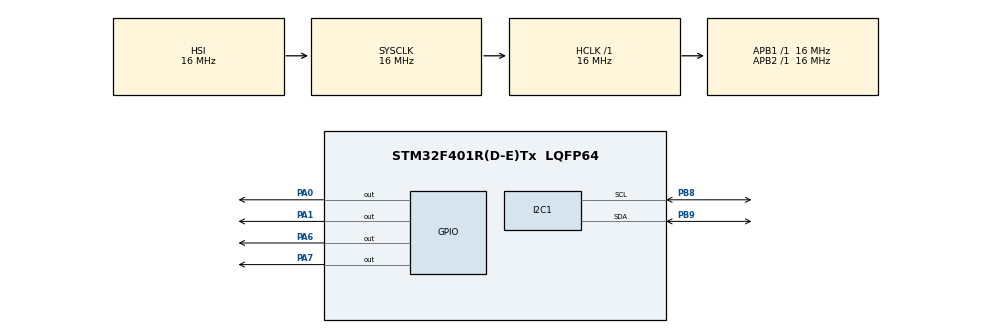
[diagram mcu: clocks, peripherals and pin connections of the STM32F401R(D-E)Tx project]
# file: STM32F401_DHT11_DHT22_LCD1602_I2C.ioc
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Mcu.Family=STM32F4
Mcu.Name=STM32F401R(D-E)Tx
Mcu.Package=LQFP64
NVIC.PriorityGroup=NVIC_PRIORITYGROUP_4
PA0-WKUP.PinState=GPIO_PIN_SET
PA0-WKUP.Signal=GPIO_Output
PA1.Signal=GPIO_Output
PA13.Mode=Serial_Wire
PA13.Signal=SYS_JTMS-SWDIO
PA14.Mode=Serial_Wire
PA14.Signal=SYS_JTCK-SWCLK
PA6.Signal=GPIO_Output
PA7.Signal=GPIO_Output
PB8.Mode=I2C
PB8.Signal=I2C1_SCL
PB9.Mode=I2C
PB9.Signal=I2C1_SDA
ProjectManager.HeapSize=0x200
ProjectManager.StackSize=0x400
ProjectManager.TargetToolchain=STM32CubeIDE
RCC.AHBFreq_Value=16000000
RCC.APB1Freq_Value=16000000
RCC.APB2Freq_Value=16000000
RCC.CortexFreq_Value=16000000
RCC.HSE_VALUE=25000000
RCC.HSI_VALUE=16000000
RCC.LSE_VALUE=32768
RCC.SYSCLKFreq_VALUE=16000000
RCC.VCOOutputFreq_Value=192000000
TIM2.Period=65535
TIM2.Prescaler=15
VP_TIM2_VS_ClockSourceINT.Mode=Internal
board=custom

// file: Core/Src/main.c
/* USER CODE BEGIN Header */
/**
  ******************************************************************************
  * @file           : main.c
  * @brief          : Main program body
  ******************************************************************************
  * @attention
  *
  * Copyright (c) 2025 STMicroelectronics.
  * All rights reserved.
  *
  * This software is licensed under terms that can be found in the LICENSE file
  * in the root directory of this software component.
  * If no LICENSE file comes with this software, it is provided AS-IS.
  *
  ******************************************************************************
  */
/* USER CODE END Header */
#include "main.h"

/* USER CODE BEGIN Includes */
#include <stdio.h>
#include <string.h>
#include "../../DelayMicro/Inc/delay_micro.h"
#include "../../Dht/Inc/Dht.h"
#include "../../Lcd1602_i2c/Inc/lcd1602_i2c.h"
#include "stm32f4xx_hal.h"
/* USER CODE END Includes */

/* USER CODE BEGIN PV */

static const uint8_t DHT_SENSORS_COUNT = 2;
static const uint8_t DHT11_SENSOR_IDX = 0;
static const uint8_t DHT22_SENSOR_IDX = 1;
static const uint32_t SENSORS_POLLING_PERIOD = 1000;

I2C_HandleTypeDef hi2c1;
TIM_HandleTypeDef htim2;

/* USER CODE END PV */

void SystemClock_Config(void);
static void MX_GPIO_Init(void);
static void MX_TIM2_Init(void);
static void MX_I2C1_Init(void);

/* USER CODE BEGIN 0 */
void ShowDHTData(char * sensor_type, uint8_t temp_sign, float temperature, float humidity)
{
	char temperature_str[20];
    char humidity_str[20];

    sprintf(temperature_str, "%s Tc = %s%2.1Lf", sensor_type, (temp_sign ? "-":"+"), (long double)temperature);
    sprintf(humidity_str, "%s Rh = %2.1Lf%%", sensor_type, (long double)humidity);

    Lcd1602ScreenClear();
    Lcd1602SetCursor(0, 0);
    Lcd1602WriteString(temperature_str);
    Lcd1602SetCursor(1, 0);
    Lcd1602WriteString(humidity_str);
}

void ShowMessage(char * message1, char * message2, uint8_t pos1, uint8_t pos2)
{
    Lcd1602ScreenClear();
    Lcd1602SetCursor(0, pos1);
    Lcd1602WriteString(message1);
    Lcd1602SetCursor(1, pos2);
    Lcd1602WriteString(message2);
}

void ShowUnsupportedSensor()
{
    char message1[20];
    char message2[20];
	strcpy(message1, "*** Unsupported");
    strcpy(message2, "*** sensor");
    ShowMessage(message1, message2, 0, 3);
}

uint8_t SwitchSensorIndex(uint8_t dht_sensor_idx)
{
    return (dht_sensor_idx == DHT22_SENSOR_IDX) ? DHT11_SENSOR_IDX : DHT22_SENSOR_IDX;
}
/* USER CODE END 0 */

int main(void)
{

  /* MCU Configuration--------------------------------------------------------*/

  /* Reset of all peripherals, Initializes the Flash interface and the Systick. */
  HAL_Init();

  /* Configure the system clock */
  SystemClock_Config();

  /* USER CODE BEGIN SysInit */
  // Initialize TIM2 to use for micro-delays
  TIM2MicrosecondsDelayInit();
  /* USER CODE END SysInit */

  /* Initialize all configured peripherals */
  MX_GPIO_Init();
  MX_TIM2_Init();
  MX_I2C1_Init();
  /* USER CODE BEGIN 2 */
    char message1[100];
    char message2[100];

    // DHT sensor descriptions' array
    DHTSensor dht_sensors[DHT_SENSORS_COUNT];

    // Configure DHT11 sensor
    DhtConfigureSensor(&dht_sensors[DHT11_SENSOR_IDX], DHT11, (DHTGpioDataLine){GPIOA, GPIO_PIN_0});

    // Configure DHT22 sensor
    DhtConfigureSensor(&dht_sensors[DHT22_SENSOR_IDX], DHT22, (DHTGpioDataLine){GPIOA, GPIO_PIN_1});

    // Set LCD1602 Interface type to I2C
    Lcd1602SetInterfaceType(LCD1602_I2C);

    // Configure LCD1602 data bus for I2C communication mode
	Lcd1602ConfigureI2C(
        (GpioItem[])
        {
            (GpioItem){GPIOB, GPIO_PIN_8},  // SCL
            (GpioItem){GPIOB, GPIO_PIN_9},  // SDA
            (GpioItem)UNDEFINED_GPIO,
            (GpioItem)UNDEFINED_GPIO,
            (GpioItem)UNDEFINED_GPIO,
            (GpioItem)UNDEFINED_GPIO,
            (GpioItem)UNDEFINED_GPIO,
            (GpioItem)UNDEFINED_GPIO
        });

  /* USER CODE END 2 */

  /* Infinite loop */
  /* USER CODE BEGIN WHILE */

    uint8_t dht_sensor_idx = 0;
	uint8_t rh_byte1 = 0;
	uint8_t rh_byte2 = 0;
	uint8_t temp_byte1 = 0;
	uint8_t temp_byte2 = 0;
	uint8_t sum = 0;
	uint8_t crc = 0;
	float humidity = 0;
	float temperature = 0;
    uint8_t temp_sign = 0;
    char dht_sensor_type_str[6];

    // Check DHT sensors' readiness
    for (uint8_t i = 0; i < DHT_SENSORS_COUNT; i++)
    {
        if (!DhtSensorCheckReadiness(&(dht_sensors[i])))
        {
            // DHT sensor did not respond. Set its status as NOT ACTIVE
        	DhtSensorSetStatus(&(dht_sensors[i]), DHT_NOT_ACTIVE);
        }
    }

    while (1)
    {
        if (!DhtSensorGetStatus(&(dht_sensors[dht_sensor_idx])))
        {
            // DHT sensor is not active
            if (DhtGetSensorTypeString(&dht_sensors[dht_sensor_idx], dht_sensor_type_str))
            {
    		    sprintf(message1, "*** %s", dht_sensor_type_str);
                sprintf(message2, "*** NOT ACTIVE");
                ShowMessage(message1, message2, 0, 0);
            }
            else
            {
                // Unsupported sensor type
                ShowUnsupportedSensor();
            }

            // Do switch a sensor index
            dht_sensor_idx = SwitchSensorIndex(dht_sensor_idx);

            TIM2MillisecondsDelay(SENSORS_POLLING_PERIOD);
            continue;
        }
    	// Send a request to the DHT sensor
        DhtSendRequest(&(dht_sensors[dht_sensor_idx]));

        // Get a response from the DHT sensor
        if (DhtGetResponse(&(dht_sensors[dht_sensor_idx])))
	    {
        	// Get sensor's response bytes
            rh_byte1 = 0;
            rh_byte2 = 0;
            temp_byte1 = 0;
            temp_byte2 = 0;
            sum = 0;
            crc = 0;

        	// Get DHT sensor's response bytes
        	DhtGetResponsedBytes(&(dht_sensors[dht_sensor_idx]), &rh_byte1, &rh_byte2, &temp_byte1, &temp_byte2, &sum);
        	crc = rh_byte1 + rh_byte2 + temp_byte1 + temp_byte2;

            humidity = 0;
            temperature = 0;
            temp_sign = 0;

        	if (crc == sum)
        	{
                if (dht_sensors[dht_sensor_idx].dht_type == DHT11)
                {

                    if (DhtSerializeData(&dht_sensors[dht_sensor_idx], rh_byte1, rh_byte2,
		                                 temp_byte1, temp_byte2, &temp_sign, &humidity, &temperature))
                    {
                    	ShowDHTData("DHT11", temp_sign, temperature, humidity);
                    }

                }
                else if (dht_sensors[dht_sensor_idx].dht_type == DHT22)
                {

                    if (DhtSerializeData(&dht_sensors[dht_sensor_idx], rh_byte1, rh_byte2,
		                                 temp_byte1, temp_byte2, &temp_sign, &humidity, &temperature))
                    {
                        ShowDHTData("DHT22", temp_sign, temperature, humidity);
                    }

                }
                else
                {
                    // Unsupported sensor type
                    ShowUnsupportedSensor();
                }
        	}
        	else
        	{
                if (DhtGetSensorTypeString(&dht_sensors[dht_sensor_idx], dht_sensor_type_str))
                {
        		    sprintf(message1, "*** %s", dht_sensor_type_str);
	                sprintf(message2, "*** %u != %u", crc, sum);
	                ShowMessage(message1, message2, 0, 0);
                }
                else
                {
                    // Unsupported sensor type
                    ShowUnsupportedSensor();
                }
        	}
      }
	  else
	  {
          // DHT sensor did not respond
		  if (DhtGetSensorTypeString(&dht_sensors[dht_sensor_idx], dht_sensor_type_str))
		  {
			  sprintf(message1, "%s %s %s", "***", dht_sensor_type_str, "***");
              strcpy(message2, "Did not respond");
              ShowMessage(message1, message2, 2, 0);
		  }
          else
          {
              // Unsupported sensor type
              ShowUnsupportedSensor();
          }
	  }

      // Do switch a sensor index
      dht_sensor_idx = SwitchSensorIndex(dht_sensor_idx);

      TIM2MillisecondsDelay(SENSORS_POLLING_PERIOD);
    }
    /* USER CODE END WHILE */

}

void SystemClock_Config(void)
{
  RCC_OscInitTypeDef RCC_OscInitStruct = {0};
  RCC_ClkInitTypeDef RCC_ClkInitStruct = {0};

  /** Configure the main internal regulator output voltage
  */
  __HAL_RCC_PWR_CLK_ENABLE();
  __HAL_PWR_VOLTAGESCALING_CONFIG(PWR_REGULATOR_VOLTAGE_SCALE2);

  /** Initializes the RCC Oscillators according to the specified parameters
  * in the RCC_OscInitTypeDef structure.
  */
  RCC_OscInitStruct.OscillatorType = RCC_OSCILLATORTYPE_HSI;
  RCC_OscInitStruct.HSIState = RCC_HSI_ON;
  RCC_OscInitStruct.HSICalibrationValue = RCC_HSICALIBRATION_DEFAULT;
  RCC_OscInitStruct.PLL.PLLState = RCC_PLL_NONE;
  if (HAL_RCC_OscConfig(&RCC_OscInitStruct) != HAL_OK)
  {
    Error_Handler();
  }

  /** Initializes the CPU, AHB and APB buses clocks
  */
  RCC_ClkInitStruct.ClockType = RCC_CLOCKTYPE_HCLK|RCC_CLOCKTYPE_SYSCLK
                              |RCC_CLOCKTYPE_PCLK1|RCC_CLOCKTYPE_PCLK2;
  RCC_ClkInitStruct.SYSCLKSource = RCC_SYSCLKSOURCE_HSI;
  RCC_ClkInitStruct.AHBCLKDivider = RCC_SYSCLK_DIV1;
  RCC_ClkInitStruct.APB1CLKDivider = RCC_HCLK_DIV1;
  RCC_ClkInitStruct.APB2CLKDivider = RCC_HCLK_DIV1;

  if (HAL_RCC_ClockConfig(&RCC_ClkInitStruct, FLASH_LATENCY_0) != HAL_OK)
  {
    Error_Handler();
  }
}

static void MX_I2C1_Init(void)
{

  hi2c1.Instance = I2C1;
  hi2c1.Init.ClockSpeed = 100000;
  hi2c1.Init.DutyCycle = I2C_DUTYCYCLE_2;
  hi2c1.Init.OwnAddress1 = 0;
  hi2c1.Init.AddressingMode = I2C_ADDRESSINGMODE_7BIT;
  hi2c1.Init.DualAddressMode = I2C_DUALADDRESS_DISABLE;
  hi2c1.Init.OwnAddress2 = 0;
  hi2c1.Init.GeneralCallMode = I2C_GENERALCALL_DISABLE;
  hi2c1.Init.NoStretchMode = I2C_NOSTRETCH_DISABLE;
  if (HAL_I2C_Init(&hi2c1) != HAL_OK)
  {
    Error_Handler();
  }

}

static void MX_TIM2_Init(void)
{

  TIM_ClockConfigTypeDef sClockSourceConfig = {0};
  TIM_MasterConfigTypeDef sMasterConfig = {0};

  htim2.Instance = TIM2;
  htim2.Init.Prescaler = 15;
  htim2.Init.CounterMode = TIM_COUNTERMODE_UP;
  htim2.Init.Period = 65535;
  htim2.Init.ClockDivision = TIM_CLOCKDIVISION_DIV1;
  htim2.Init.AutoReloadPreload = TIM_AUTORELOAD_PRELOAD_DISABLE;
  if (HAL_TIM_Base_Init(&htim2) != HAL_OK)
  {
    Error_Handler();
  }
  sClockSourceConfig.ClockSource = TIM_CLOCKSOURCE_INTERNAL;
  if (HAL_TIM_ConfigClockSource(&htim2, &sClockSourceConfig) != HAL_OK)
  {
    Error_Handler();
  }
  sMasterConfig.MasterOutputTrigger = TIM_TRGO_RESET;
  sMasterConfig.MasterSlaveMode = TIM_MASTERSLAVEMODE_DISABLE;
  if (HAL_TIMEx_MasterConfigSynchronization(&htim2, &sMasterConfig) != HAL_OK)
  {
    Error_Handler();
  }

}

static void MX_GPIO_Init(void)
{
  GPIO_InitTypeDef GPIO_InitStruct = {0};

  /* GPIO Ports Clock Enable */
  __HAL_RCC_GPIOA_CLK_ENABLE();
  __HAL_RCC_GPIOB_CLK_ENABLE();

  /*Configure GPIO pin Output Level */
  HAL_GPIO_WritePin(GPIOA, GPIO_PIN_0, GPIO_PIN_SET);

  /*Configure GPIO pin Output Level */
  HAL_GPIO_WritePin(GPIOA, GPIO_PIN_1|GPIO_PIN_6|GPIO_PIN_7, GPIO_PIN_RESET);

  /*Configure GPIO pins : PA0 PA1 PA6 PA7 */
  GPIO_InitStruct.Pin = GPIO_PIN_0|GPIO_PIN_1|GPIO_PIN_6|GPIO_PIN_7;
  GPIO_InitStruct.Mode = GPIO_MODE_OUTPUT_PP;
  GPIO_InitStruct.Pull = GPIO_NOPULL;
  GPIO_InitStruct.Speed = GPIO_SPEED_FREQ_LOW;
  HAL_GPIO_Init(GPIOA, &GPIO_InitStruct);

}

void Error_Handler(void)
{
  __disable_irq();
  while (1)
  {
  }
}
